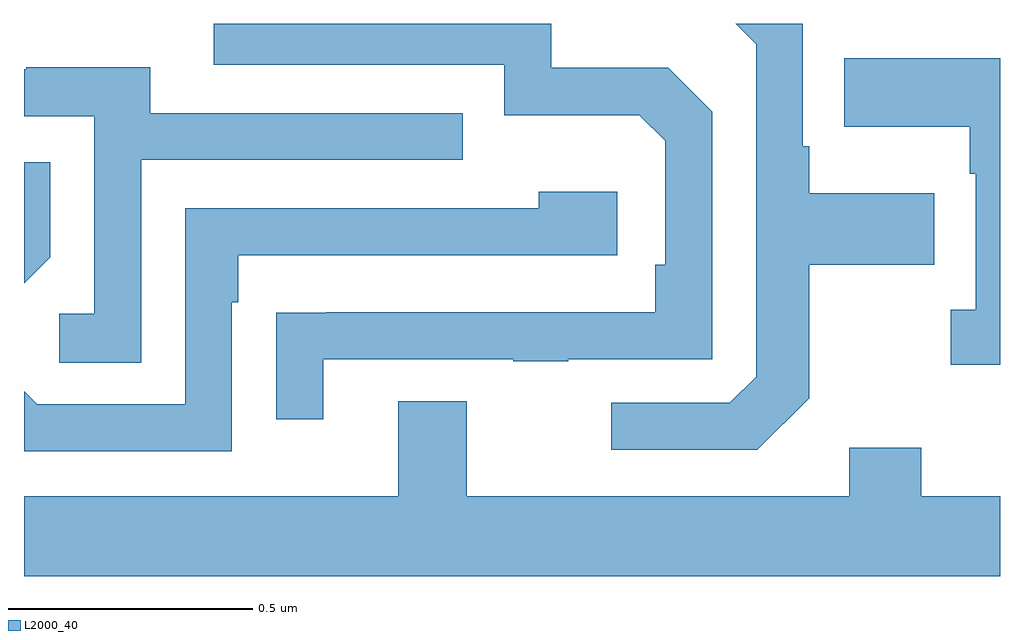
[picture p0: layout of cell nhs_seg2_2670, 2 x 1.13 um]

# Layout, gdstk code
import gdstk
lib = gdstk.Library(unit=1e-6, precision=1e-09)
def P(c, l, *ps):  # polygons
    for p in ps: c.add(gdstk.Polygon(p, *l))
L2000_40 = (2000, 40)

nhs_seg2_2670 = lib.new_cell('nhs_seg2_2670')
P(nhs_seg2_2670, L2000_40, [(144.613,616.113),(145.003,616.113),(145.003,616.108),(145.115,616.108),(145.115,616.113),(145.41,616.113),(145.41,616.62),(145.32,616.71),(145.08,616.71),(145.08,616.8),(144.389,616.8),(144.389,616.716),(144.984,616.716),(144.984,616.613),(145.261,616.613),(145.314,616.56),(145.314,616.306),(145.294,616.306),(145.294,616.209),(144.619,616.209),(144.619,616.208),(144.517,616.208),(144.517,615.99),(144.613,615.99)],
  [(145.609,616.033),(145.609,616.306),(145.865,616.306),(145.865,616.453),(145.609,616.453),(145.609,616.549),(145.596,616.549),(145.596,616.8),(145.458,616.8),(145.5,616.758),(145.5,616.077),(145.446,616.023),(145.203,616.023),(145.203,615.927),(145.503,615.927)],
  [(146,616.729),(145.681,616.729),(145.681,616.589),(145.938,616.589),(145.938,616.493),(145.95,616.493),(145.95,616.214),(145.899,616.214),(145.899,616.101),(146,616.101)],
  [(144.24,616.521),(144.899,616.521),(144.899,616.617),(144.259,616.617),(144.259,616.711),(144.005,616.711),(144.005,616.707),(144,616.707),(144,616.611),(144.144,616.611),(144.144,616.206),(144.072,616.206),(144.072,616.105),(144.24,616.105)],
  [(144.054,616.322),(144.054,616.516),(144,616.516),(144,616.268)],
  [(144.426,616.229),(144.439,616.229),(144.439,616.326),(145.216,616.326),(145.216,616.456),(145.055,616.456),(145.055,616.422),(144.33,616.422),(144.33,616.02),(144.027,616.02),(144,616.047),(144,615.924),(144.426,615.924)],
  [(146,615.832),(145.839,615.832),(145.839,615.931),(145.691,615.931),(145.691,615.832),(144.907,615.832),(144.907,616.027),(144.767,616.027),(144.767,615.832),(144,615.832),(144,615.668),(146,615.668)])

lib.write_gds('nhs_seg2_2670.gds')
